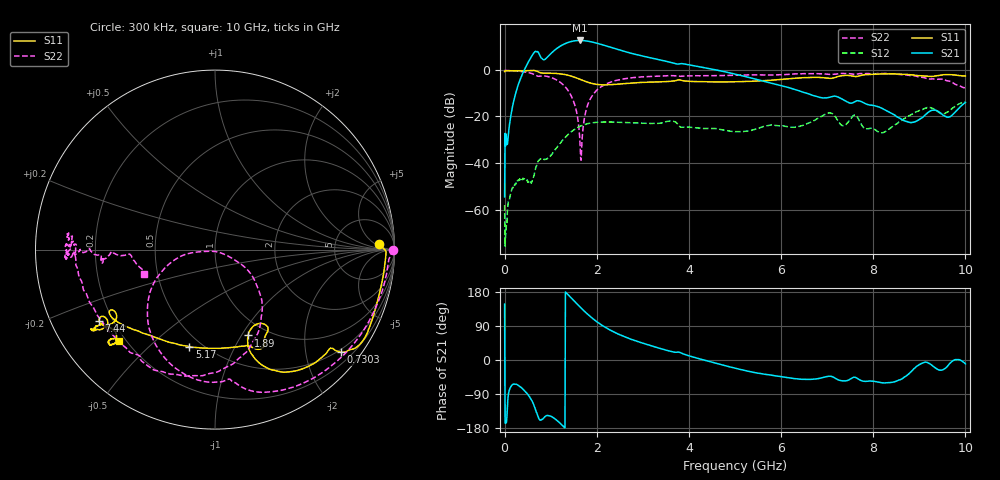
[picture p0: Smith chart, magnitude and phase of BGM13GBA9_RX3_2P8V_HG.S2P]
!Agilent Technologies,E5071C,MY46316587,B.13.01
!Date: Wed Dec 06 10:55:48 2017
!Data & Calibration Information:
!Freq	S11:SOLT2(ON)	S21:SOLT2(ON)	S12:SOLT2(ON)	S22:SOLT2(ON)
!PortZ  Port1:50+j0  Port2:50+j0
!Above PortZ is port z conversion or system Z0 setting when saving the data.
!When reading, reference impedance value at option line is always used.
# Hz S RI R 50
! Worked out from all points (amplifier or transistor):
!   1001 points, 300 kHz to 10 GHz, reference 50 ohm
!   highest |S21| = 12.6 dB at 1.63 GHz (marker M1)
!   |S21| within 3 dB of that: 1.164 GHz to 2.314 GHz (1.15 GHz wide, 66.1 % of centre)
!   unconditionally stable (mu >= 1): start of sweep to end of sweep
!   at 1.66 GHz: K = 1.29, MAG = 15.1 dB, |S12| = -24.0 dB
!   at 5 GHz: K = 3.78, MAG = 3.7 dB, |S12| = -26.6 dB
!   at 10 GHz: K = 4.50, MAG = -9.6 dB, |S12| = -13.8 dB
!   lowest NFmin = 0.63 dB at 1.45 GHz
!   S11 on the Smith chart (normalised r, x): 300 kHz: 19, +7; 730.3 MHz: 0.43, -2.75; 1.89 GHz: 0.82, -1.07; 5.17 GHz: 0.43, -0.68; 7.44 GHz: 0.15, -0.28; 10 GHz: 0.17, -0.39
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300000  0.913 0.0305  -0.00159 0.00102  -0.000556 0.00113  0.9931 -1.99e-05
1.802946e8  0.9391 -0.1372  0.0778 -0.1617  0.000449 0.00293  0.8733 -0.3697
4.702859e8  0.8863 -0.3554  0.0889 -1.206  0.00101 0.00437  0.4727 -0.7521
6.202814e8  0.8326 -0.4945  -0.9095 -2.005  -0.00277 0.00393  0.2011 -0.7865
7.302781e8  0.7023 -0.5712  -2.072 -1.158  -0.00644 0.00908  0.0829 -0.7217
8.00276e8  0.6551 -0.5499  -1.641 -0.6974  -0.0045 0.0111  0.0262 -0.7378
9.102727e8  0.6284 -0.5659  -1.502 -0.9823  -0.00517 0.0111  -0.1239 -0.7165
1.180265e9  0.4924 -0.662  -2.968 -0.8428  -0.0154 0.0192  -0.3696 -0.427
1.420257e9  0.3225 -0.6714  -3.877 0.8844  -0.0199 0.0402  -0.2872 -0.1115
1.630251e9  0.2119 -0.5923  -3.296 2.69  -0.00922 0.0603  -0.0334 -0.00913
1.67025e9  0.199 -0.5744  -3.053 2.956  -0.00588 0.0634  0.014 -0.0132
1.890243e9  0.1839 -0.4781  -1.459 3.681  0.015 0.0714  0.2144 -0.159
2.150236e9  0.224 -0.4204  0.0675 3.373  0.0354 0.0675  0.2566 -0.3915
2.440227e9  0.2668 -0.4139  0.9461 2.591  0.0478 0.0588  0.1725 -0.5735
3.3402e9  0.285 -0.4715  1.407 0.8661  0.0586 0.0405  -0.2344 -0.6938
5.00015e9  -0.0815 -0.5475  0.7563 -0.2991  0.0406 0.0237  -0.7381 -0.1959
5.170145e9  -0.1424 -0.5405  0.6631 -0.3283  0.0383 0.0284  -0.7601 -0.1389
6.6701e9  -0.5765 -0.3762  0.1807 -0.223  0.0465 0.062  -0.8247 0.0864
7.440077e9  -0.6462 -0.3986  0.12 -0.1654  0.0571 0.0443  -0.8292 0.0406
8.34005e9  -0.6879 -0.4468  0.063 -0.1079  0.0272 0.0462  -0.8254 -0.0456
8.850034e9  -0.6536 -0.4254  0.0666 -0.034  0.0506 0.1019  -0.7525 -0.00374
1e10  -0.5339 -0.5084  0.1954 -0.0357  0.1974 0.0534  -0.3929 -0.1378
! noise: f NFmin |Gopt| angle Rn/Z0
1.1e+09  0.7215  0.5526  38.23  0.2547
1.15e+09  0.7157  0.56  38.87  0.2487
1.2e+09  0.6811  0.5688  40.88  0.2376
1.3e+09  0.6667  0.5732  40.62  0.2354
1.35e+09  0.6423  0.5606  41.66  0.2273
1.4e+09  0.6306  0.5712  41.62  0.229
1.5e+09  0.6313  0.537  43.52  0.2195
1.55e+09  0.6375  0.5234  44.01  0.2207
1.6e+09  0.6407  0.5148  45.47  0.2163
1.7e+09  0.6934  0.4817  47.63  0.2152
